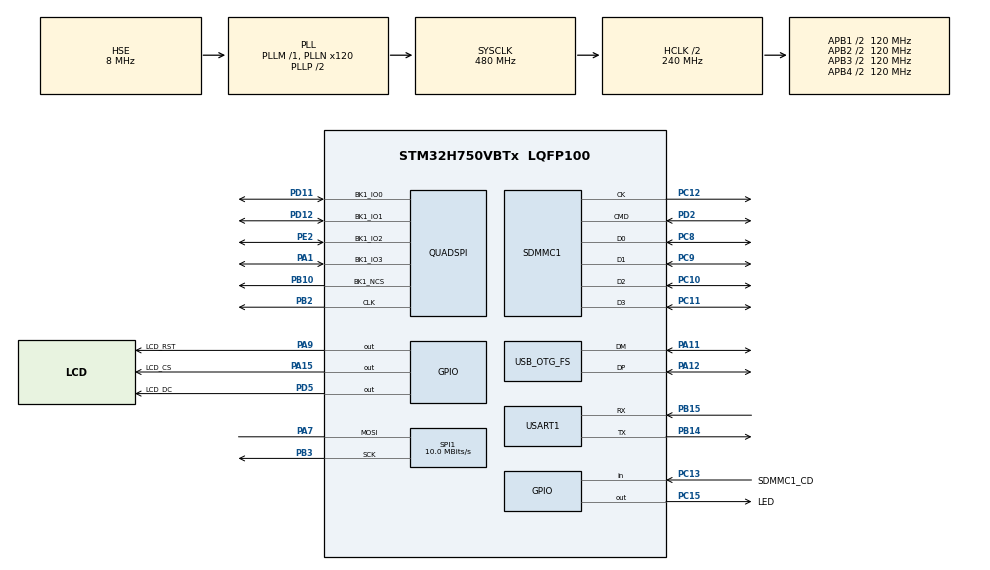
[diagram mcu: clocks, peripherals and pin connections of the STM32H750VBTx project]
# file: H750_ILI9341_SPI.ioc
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Mcu.Family=STM32H7
RCC.CortexFreq_Value=480000000
SPI1.VirtualType=VM_MASTER
PB10.Mode=Single Bank 1
RCC.HPRE=RCC_HCLK_DIV2
PH0-OSC_IN\ (PH0).Signal=RCC_OSC_IN
PC10.Signal=SDMMC1_D2
PC12.Signal=SDMMC1_CK
RCC.PLLFRACN=0
PA11.Mode=Device_Only
RCC.PLL2FRACN=0
PA15\ (JTDI).Signal=GPIO_Output
PC13.GPIO_Label=SDMMC1_CD
PB15.Signal=USART1_RX
RCC.SYSCLKSource=RCC_SYSCLKSOURCE_PLLCLK
ProjectManager.StackSize=0x400
RCC.SPI123CLockSelection=RCC_SPI123CLKSOURCE_PLL2
PA14\ (JTCK/SWCLK).Signal=DEBUG_JTCK-SWCLK
PA12.Signal=USB_OTG_FS_DP
SPI1.Direction=SPI_DIRECTION_1LINE
RCC.HCLKFreq_Value=240000000
PE2.Mode=Single Bank 1
SPI1.CalculateBaudRate=10.0 MBits/s
PH1-OSC_OUT\ (PH1).Mode=HSE-External-Oscillator
RCC.HSE_VALUE=8000000
PB2.Signal=QUADSPI_CLK
RCC.DIVM2=1
RCC.DIVM1=1
PB14.Mode=Asynchronous
SPI1.DataSize=SPI_DATASIZE_8BIT
PC9.Mode=SD_4_bits_Wide_bus
PE2.Signal=QUADSPI_BK1_IO2
PA14\ (JTCK/SWCLK).Mode=Serial_Wire
RCC.APB3Freq_Value=120000000
Mcu.Package=LQFP100
RCC.D1PPRE=RCC_APB3_DIV2
RCC.SDMMC1CLockSelection=RCC_SDMMCCLKSOURCE_PLL2
PD12.Signal=QUADSPI_BK1_IO1
PD5.GPIO_Label=LCD_DC
USB_OTG_FS.VirtualMode=Device_Only
PC11.Mode=SD_4_bits_Wide_bus
RCC.APB4Freq_Value=120000000
SPI1.BaudRatePrescaler=SPI_BAUDRATEPRESCALER_8
PH0-OSC_IN\ (PH0).Mode=HSE-External-Oscillator
RCC.DIVQ1=20
PA7.Mode=Simplex_Bidirectional_Master
PA13\ (JTMS/SWDIO).Mode=Serial_Wire
PC11.Signal=SDMMC1_D3
PA9.GPIO_Label=LCD_RST
PC13.Signal=GPIO_Input
PC8.Signal=SDMMC1_D0
PC10.Mode=SD_4_bits_Wide_bus
RCC.D2PPRE2=RCC_APB2_DIV2
RCC.D2PPRE1=RCC_APB1_DIV2
RCC.DIVP2=3
PD5.Signal=GPIO_Output
VP_RNG_VS_RNG.Mode=RNG_Activate
PH1-OSC_OUT\ (PH1).Signal=RCC_OSC_OUT
USART1.VirtualMode-Asynchronous=VM_ASYNC
PB3\ (JTDO/TRACESWO).Signal=SPI1_SCK
ProjectManager.TargetToolchain=Makefile
PC15-OSC32_OUT\ (OSC32_OUT).Signal=GPIO_Output
PA9.Signal=GPIO_Output
RCC.DIVN2=30
RCC.DIVN1=120
RCC.USBFreq_Value=48000000
PA1.Signal=QUADSPI_BK1_IO3
PB10.Signal=QUADSPI_BK1_NCS
PB14.Signal=USART1_TX
PD2.Mode=SD_4_bits_Wide_bus
PC12.Mode=SD_4_bits_Wide_bus
board=custom
PB15.Mode=Asynchronous
RCC.APB2Freq_Value=120000000
PA1.Mode=Single Bank 1
SPI1.Mode=SPI_MODE_MASTER
RCC.ADCFreq_Value=80000000
PA15\ (JTDI).GPIO_Label=LCD_CS
Mcu.Name=STM32H750VBTx
PC8.Mode=SD_4_bits_Wide_bus
RCC.SYSCLKFreq_VALUE=480000000
PD12.Mode=Single Bank 1
PA12.Mode=Device_Only
PC15-OSC32_OUT\ (OSC32_OUT).GPIO_Label=LED
PD11.Signal=QUADSPI_BK1_IO0
PB2.Mode=Single Bank 1
RCC.QSPICLockSelection=RCC_QSPICLKSOURCE_PLL2
PA11.Signal=USB_OTG_FS_DM
ProjectManager.HeapSize=0x200
PD11.Mode=Single Bank 1
NVIC.PriorityGroup=NVIC_PRIORITYGROUP_4
PB3\ (JTDO/TRACESWO).Mode=Simplex_Bidirectional_Master
RCC.D3PPRE=RCC_APB4_DIV2
PC9.Signal=SDMMC1_D1
PD2.Signal=SDMMC1_CMD
RCC.APB1Freq_Value=120000000
RCC.DIVR2=10
PA13\ (JTMS/SWDIO).Signal=DEBUG_JTMS-SWDIO
PA7.Signal=SPI1_MOSI

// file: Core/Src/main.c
/* USER CODE BEGIN Header */
/**
  ******************************************************************************
  * @file           : main.c
  * @brief          : Main program body
  ******************************************************************************
  * @attention
  *
  * <h2><center>&copy; Copyright (c) 2020 STMicroelectronics.
  * All rights reserved.</center></h2>
  *
  * This software component is licensed by ST under BSD 3-Clause license,
  * the "License"; You may not use this file except in compliance with the
  * License. You may obtain a copy of the License at:
  *                        opensource.org/licenses/BSD-3-Clause
  *
  ******************************************************************************
  */
/* USER CODE END Header */
#include "main.h"
#include "quadspi.h"
#include "rng.h"
#include "sdmmc.h"
#include "spi.h"
#include "usart.h"
#include "usb_otg.h"
#include "gpio.h"

/* USER CODE BEGIN Includes */
#include "STM32_ILI9341_SPI.h"
#include "Hangle.h"
#include "English.h"

/* USER CODE END Includes */

void SystemClock_Config(void);

/* USER CODE BEGIN 0 */
void HAL_SYSTICK_Callback(void)
{
	static int cnt = -1000;

	cnt++;
	if(cnt > 500)
	{
		cnt = 0;

		HAL_GPIO_TogglePin(LED_GPIO_Port, LED_Pin);	// 보드의 LED를 깜빡여 살아있음을 알리자.
	}
}

void Demo_Color(void)
{
	ILI9341_Fill_Screen(RED);
  HAL_Delay(1000);
  ILI9341_Fill_Screen(GREEN);
  HAL_Delay(1000);
  ILI9341_Fill_Screen(BLUE);
}

void Demo_Line(void)
{
	uint16_t i, x1, y1, x2, y2, color, w, h;
	uint32_t rn;

	w = ILI9341_GetWidth();
	h = ILI9341_GetHeight();

	ILI9341_Fill_Screen(WHITE);

	for(i = 0; i < 500; i++)
	{
		HAL_RNG_GenerateRandomNumber(&hrng, &rn);		// 하드웨어 랜덤 숫자 발생
		x1 = rn % w;
		HAL_RNG_GenerateRandomNumber(&hrng, &rn);
		x2 = rn % w;
		HAL_RNG_GenerateRandomNumber(&hrng, &rn);
		y1 = rn % h;
		HAL_RNG_GenerateRandomNumber(&hrng, &rn);
		y2 = rn % h;
		HAL_RNG_GenerateRandomNumber(&hrng, &rn);
		color = rn % 0x10000;

		ILI9341_Draw_line(x1, y1, x2, y2, color);
	}
}

void Demo_Circle(void)
{
	uint16_t i, x, y, r, color, w, h;
	uint32_t rn;

	w = ILI9341_GetWidth();
	h = ILI9341_GetHeight();

	ILI9341_Fill_Screen(WHITE);

	for(i = 0; i < 500; i++)
	{
		HAL_RNG_GenerateRandomNumber(&hrng, &rn);
		x = rn % w;
		HAL_RNG_GenerateRandomNumber(&hrng, &rn);
		y = rn % h;
		HAL_RNG_GenerateRandomNumber(&hrng, &rn);
		r = rn % 100;
		HAL_RNG_GenerateRandomNumber(&hrng, &rn);
		color = rn % 0x10000;

		ILI9341_Draw_Circle(x, y, r, color);
	}
}

void Demo_Fill(void)
{
	uint16_t i, x1, y1, x2, y2, color, w, h;
	uint32_t rn;

	w = ILI9341_GetWidth();
	h = ILI9341_GetHeight();

	ILI9341_Fill_Screen(WHITE);

	for(i = 0; i < 500; i++)
	{
		HAL_RNG_GenerateRandomNumber(&hrng, &rn);
		x1 = rn % w;
		HAL_RNG_GenerateRandomNumber(&hrng, &rn);
		x2 = rn % w;
		HAL_RNG_GenerateRandomNumber(&hrng, &rn);
		y1 = rn % h;
		HAL_RNG_GenerateRandomNumber(&hrng, &rn);
		y2 = rn % h;
		HAL_RNG_GenerateRandomNumber(&hrng, &rn);
		color = rn % 0x10000;

		ILI9341_Draw_FillRectangle(x1, y1, x2, y2, color);
	}
}

void Demo_Text(void)
{
	ILI9341_Fill_Screen(WHITE);
	ILI9341_Draw_FillRectangle(10,  10, 100, 220, RED);
	ILI9341_Draw_FillRectangle(120, 10, 100, 220, GREEN);
	ILI9341_Draw_FillRectangle(230, 10, 100, 220, BLUE);

	LCD_Puts26x48(0, 0,   (uint8_t *)"Hello World.", TFT_STRING_MODE_BACKGROUND);
	LCD_Puts18x32(0, 48,  (uint8_t *)"Hello World.", TFT_STRING_MODE_BACKGROUND);
	LCD_Puts14x24(0, 80,  (uint8_t *)"Hello World.", TFT_STRING_MODE_BACKGROUND);
	LCD_Puts8x16( 0, 104, (uint8_t *)"Hello World.", TFT_STRING_MODE_BACKGROUND);

	LCD_SetTextColor(BLUE);
	LCD_SetBackgroundColor(GREEN);
	LCD_Puts14x24(0, 120,  (uint8_t *)"Blue Text.", TFT_STRING_MODE_BACKGROUND);
	LCD_Puts14x24(0, 150,  (uint8_t *)"No Background Text.", TFT_STRING_MODE_NO_BACKGROUND);

	DisplayHangle(0, 180, "한글입니다. ABCDEFG");
}

/* USER CODE END 0 */

int main(void)
{

  /* MCU Configuration--------------------------------------------------------*/

  /* Reset of all peripherals, Initializes the Flash interface and the Systick. */
  HAL_Init();

  /* Configure the system clock */
  SystemClock_Config();

  /* Initialize all configured peripherals */
  MX_GPIO_Init();
  MX_QUADSPI_Init();
  MX_SDMMC1_SD_Init();
  MX_USART1_UART_Init();
  MX_USB_OTG_FS_PCD_Init();
  MX_SPI1_Init();
  MX_RNG_Init();
  /* USER CODE BEGIN 2 */
	ILI9341_Init();//initial driver setup to drive ili9341

  Demo_Color();
  HAL_Delay(1000);
  Demo_Line();
  HAL_Delay(500);
  Demo_Circle();
  HAL_Delay(500);
  Demo_Fill();
  HAL_Delay(500);
  Demo_Text();
  HAL_Delay(1500);

  /* USER CODE END 2 */

  /* Infinite loop */
  /* USER CODE BEGIN WHILE */
	int pos = 0;

	while (1)
  {
		ILI9341_Scroll(pos);
    HAL_Delay(50);

  	pos++;
  	if(pos >= ILI9341_GetWidth()) pos = 0;
    /* USER CODE END WHILE */

  }
}

void SystemClock_Config(void)
{
  RCC_OscInitTypeDef RCC_OscInitStruct = {0};
  RCC_ClkInitTypeDef RCC_ClkInitStruct = {0};
  RCC_PeriphCLKInitTypeDef PeriphClkInitStruct = {0};

  /** Supply configuration update enable
  */
  HAL_PWREx_ConfigSupply(PWR_LDO_SUPPLY);
  /** Configure the main internal regulator output voltage
  */
  __HAL_PWR_VOLTAGESCALING_CONFIG(PWR_REGULATOR_VOLTAGE_SCALE0);

  while(!__HAL_PWR_GET_FLAG(PWR_FLAG_VOSRDY)) {}
  /** Macro to configure the PLL clock source
  */
  __HAL_RCC_PLL_PLLSOURCE_CONFIG(RCC_PLLSOURCE_HSE);
  /** Initializes the RCC Oscillators according to the specified parameters
  * in the RCC_OscInitTypeDef structure.
  */
  RCC_OscInitStruct.OscillatorType = RCC_OSCILLATORTYPE_HSI48|RCC_OSCILLATORTYPE_HSE;
  RCC_OscInitStruct.HSEState = RCC_HSE_ON;
  RCC_OscInitStruct.HSI48State = RCC_HSI48_ON;
  RCC_OscInitStruct.PLL.PLLState = RCC_PLL_ON;
  RCC_OscInitStruct.PLL.PLLSource = RCC_PLLSOURCE_HSE;
  RCC_OscInitStruct.PLL.PLLM = 1;
  RCC_OscInitStruct.PLL.PLLN = 120;
  RCC_OscInitStruct.PLL.PLLP = 2;
  RCC_OscInitStruct.PLL.PLLQ = 20;
  RCC_OscInitStruct.PLL.PLLR = 2;
  RCC_OscInitStruct.PLL.PLLRGE = RCC_PLL1VCIRANGE_3;
  RCC_OscInitStruct.PLL.PLLVCOSEL = RCC_PLL1VCOWIDE;
  RCC_OscInitStruct.PLL.PLLFRACN = 0;
  if (HAL_RCC_OscConfig(&RCC_OscInitStruct) != HAL_OK)
  {
    Error_Handler();
  }
  /** Initializes the CPU, AHB and APB buses clocks
  */
  RCC_ClkInitStruct.ClockType = RCC_CLOCKTYPE_HCLK|RCC_CLOCKTYPE_SYSCLK
                              |RCC_CLOCKTYPE_PCLK1|RCC_CLOCKTYPE_PCLK2
                              |RCC_CLOCKTYPE_D3PCLK1|RCC_CLOCKTYPE_D1PCLK1;
  RCC_ClkInitStruct.SYSCLKSource = RCC_SYSCLKSOURCE_PLLCLK;
  RCC_ClkInitStruct.SYSCLKDivider = RCC_SYSCLK_DIV1;
  RCC_ClkInitStruct.AHBCLKDivider = RCC_HCLK_DIV2;
  RCC_ClkInitStruct.APB3CLKDivider = RCC_APB3_DIV2;
  RCC_ClkInitStruct.APB1CLKDivider = RCC_APB1_DIV2;
  RCC_ClkInitStruct.APB2CLKDivider = RCC_APB2_DIV2;
  RCC_ClkInitStruct.APB4CLKDivider = RCC_APB4_DIV2;

  if (HAL_RCC_ClockConfig(&RCC_ClkInitStruct, FLASH_LATENCY_4) != HAL_OK)
  {
    Error_Handler();
  }
  PeriphClkInitStruct.PeriphClockSelection = RCC_PERIPHCLK_USART1|RCC_PERIPHCLK_RNG
                              |RCC_PERIPHCLK_SPI1|RCC_PERIPHCLK_SDMMC
                              |RCC_PERIPHCLK_USB|RCC_PERIPHCLK_QSPI;
  PeriphClkInitStruct.PLL2.PLL2M = 1;
  PeriphClkInitStruct.PLL2.PLL2N = 30;
  PeriphClkInitStruct.PLL2.PLL2P = 3;
  PeriphClkInitStruct.PLL2.PLL2Q = 2;
  PeriphClkInitStruct.PLL2.PLL2R = 10;
  PeriphClkInitStruct.PLL2.PLL2RGE = RCC_PLL2VCIRANGE_3;
  PeriphClkInitStruct.PLL2.PLL2VCOSEL = RCC_PLL2VCOWIDE;
  PeriphClkInitStruct.PLL2.PLL2FRACN = 0;
  PeriphClkInitStruct.QspiClockSelection = RCC_QSPICLKSOURCE_PLL2;
  PeriphClkInitStruct.SdmmcClockSelection = RCC_SDMMCCLKSOURCE_PLL2;
  PeriphClkInitStruct.Spi123ClockSelection = RCC_SPI123CLKSOURCE_PLL2;
  PeriphClkInitStruct.Usart16ClockSelection = RCC_USART16CLKSOURCE_D2PCLK2;
  PeriphClkInitStruct.RngClockSelection = RCC_RNGCLKSOURCE_HSI48;
  PeriphClkInitStruct.UsbClockSelection = RCC_USBCLKSOURCE_PLL;
  if (HAL_RCCEx_PeriphCLKConfig(&PeriphClkInitStruct) != HAL_OK)
  {
    Error_Handler();
  }
  /** Enable USB Voltage detector
  */
  HAL_PWREx_EnableUSBVoltageDetector();
}

void Error_Handler(void)
{
}

/************************ (C) COPYRIGHT STMicroelectronics *****END OF FILE****/
